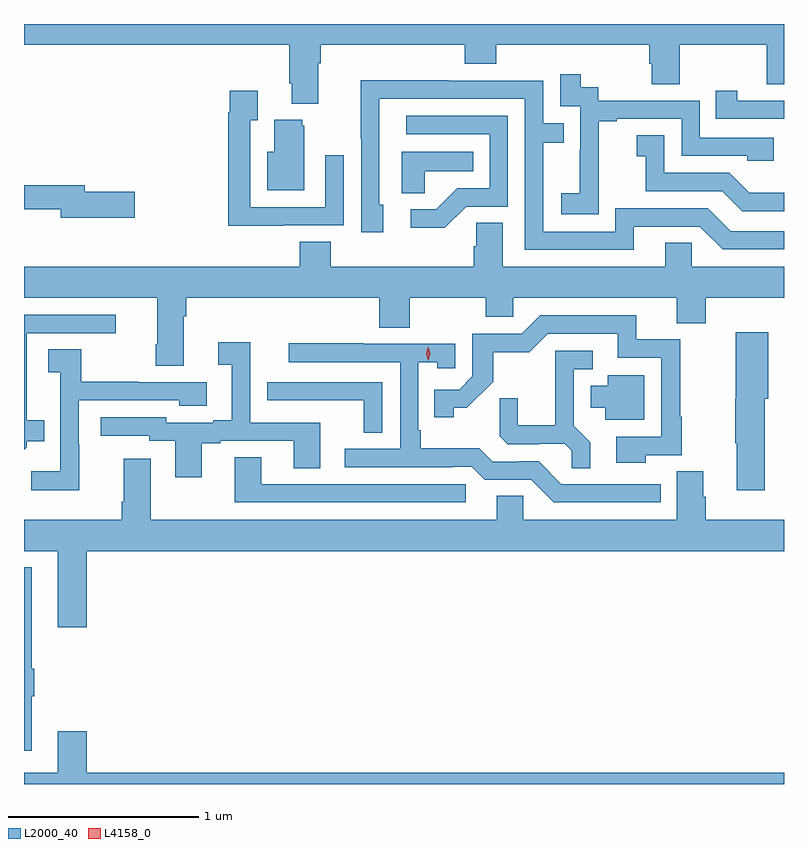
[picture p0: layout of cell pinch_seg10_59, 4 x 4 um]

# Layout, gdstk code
import gdstk
lib = gdstk.Library(unit=1e-6, precision=1e-09)
def P(c, l, *ps):  # polygons
    for p in ps: c.add(gdstk.Polygon(p, *l))
L2000_40 = (2000, 40)
L4158_0 = (4158, 0)

pinch_seg10_59 = lib.new_cell('pinch_seg10_59')
P(pinch_seg10_59, L2000_40, [(839.803,1300.22),(839.816,1300.22),(839.816,1300.316),(840.575,1300.316),(840.575,1300.217),(840.74,1300.217),(840.74,1300.316),(841.547,1300.316),(841.547,1300.218),(841.559,1300.218),(841.559,1300.108),(841.707,1300.108),(841.707,1300.316),(842.164,1300.316),(842.164,1300.108),(842.255,1300.108),(842.255,1300.426),(838.255,1300.426),(838.255,1300.316),(839.651,1300.316),(839.651,1300.114),(839.663,1300.114),(839.663,1300.007),(839.803,1300.007)],
  [(841.281,1299.631),(841.28,1299.631),(841.28,1299.915),(841.375,1299.915),(841.375,1299.927),(841.716,1299.927),(841.716,1299.732),(842.061,1299.732),(842.061,1299.705),(842.201,1299.705),(842.201,1299.828),(841.812,1299.828),(841.812,1300.023),(841.278,1300.023),(841.278,1300.092),(841.186,1300.092),(841.186,1300.162),(841.077,1300.162),(841.077,1299.993),(841.182,1299.993),(841.182,1299.764),(841.181,1299.764),(841.181,1299.535),(841.083,1299.535),(841.083,1299.425),(841.281,1299.425)],
  [(841.465,1299.36),(841.812,1299.36),(841.932,1299.24),(842.255,1299.24),(842.255,1299.336),(841.974,1299.336),(841.854,1299.456),(841.368,1299.456),(841.368,1299.333),(840.987,1299.333),(840.987,1299.802),(841.097,1299.802),(841.097,1299.903),(840.987,1299.903),(840.987,1300.128),(840.491,1300.128),(840.491,1300.13),(840.028,1300.13),(840.028,1299.823),(840.03,1299.823),(840.03,1299.33),(840.145,1299.33),(840.145,1299.474),(840.126,1299.474),(840.126,1300.032),(840.891,1300.032),(840.891,1299.237),(841.465,1299.237)],
  [(842.255,1300.023),(842.008,1300.023),(842.008,1300.075),(841.897,1300.075),(841.897,1299.927),(842.255,1299.927)],
  [(839.621,1299.366),(839.937,1299.366),(839.937,1299.736),(839.841,1299.736),(839.841,1299.462),(839.445,1299.462),(839.445,1299.919),(839.485,1299.919),(839.485,1300.075),(839.337,1300.075),(839.337,1299.962),(839.329,1299.962),(839.329,1299.365),(839.621,1299.365)],
  [(840.582,1299.465),(840.801,1299.465),(840.801,1299.942),(840.267,1299.942),(840.267,1299.846),(840.705,1299.846),(840.705,1299.561),(840.536,1299.561),(840.425,1299.45),(840.291,1299.45),(840.291,1299.353),(840.469,1299.353)],
  [(839.731,1299.891),(839.72,1299.891),(839.72,1299.922),(839.573,1299.922),(839.573,1299.754),(839.534,1299.754),(839.534,1299.551),(839.731,1299.551)],
  [(842.255,1299.538),(842.072,1299.538),(841.968,1299.642),(841.626,1299.642),(841.626,1299.841),(841.479,1299.841),(841.479,1299.731),(841.528,1299.731),(841.528,1299.546),(841.931,1299.546),(842.036,1299.441),(842.255,1299.441)],
  [(840.363,1299.65),(840.62,1299.65),(840.62,1299.754),(840.242,1299.754),(840.242,1299.535),(840.363,1299.535)],
  [(838.837,1299.542),(838.576,1299.542),(838.576,1299.578),(838.255,1299.578),(838.255,1299.45),(838.448,1299.45),(838.448,1299.407),(838.837,1299.407)],
  [(839.095,1298.888),(839.108,1298.888),(839.108,1298.984),(840.125,1298.984),(840.125,1298.827),(840.285,1298.827),(840.285,1298.984),(840.685,1298.984),(840.685,1298.886),(840.831,1298.886),(840.831,1298.984),(841.691,1298.984),(841.691,1298.851),(841.844,1298.851),(841.844,1298.984),(842.255,1298.984),(842.255,1299.148),(841.77,1299.148),(841.77,1299.275),(841.631,1299.275),(841.631,1299.148),(840.775,1299.148),(840.775,1299.38),(840.636,1299.38),(840.636,1299.257),(840.623,1299.257),(840.623,1299.148),(839.87,1299.148),(839.87,1299.281),(839.705,1299.281),(839.705,1299.148),(838.255,1299.148),(838.255,1298.984),(838.955,1298.984),(838.955,1298.74),(838.948,1298.74),(838.948,1298.628),(839.095,1298.628)],
  [(838.269,1298.199),(838.269,1298.231),(838.361,1298.231),(838.361,1298.341),(838.27,1298.341),(838.27,1298.799),(838.738,1298.799),(838.738,1298.895),(838.255,1298.895),(838.255,1298.185)],
  [(841.527,1298.157),(841.717,1298.157),(841.717,1298.36),(841.709,1298.36),(841.709,1298.766),(841.478,1298.766),(841.478,1298.892),(840.972,1298.892),(840.876,1298.796),(840.615,1298.796),(840.615,1298.571),(840.546,1298.502),(840.415,1298.502),(840.415,1298.355),(840.516,1298.355),(840.516,1298.405),(840.586,1298.405),(840.724,1298.542),(840.724,1298.698),(840.913,1298.698),(841.011,1298.796),(841.379,1298.796),(841.379,1298.67),(841.608,1298.67),(841.608,1298.253),(841.371,1298.253),(841.371,1298.117),(841.527,1298.117)],
  [(842.153,1298.454),(842.171,1298.454),(842.171,1298.803),(842,1298.803),(842,1298.454),(841.999,1298.454),(841.999,1298.219),(842.006,1298.219),(842.006,1297.971),(842.153,1297.971)],
  [(839.191,1298.22),(839.287,1298.22),(839.287,1298.232),(839.675,1298.232),(839.675,1298.089),(839.815,1298.089),(839.815,1298.328),(839.445,1298.328),(839.445,1298.752),(839.277,1298.752),(839.277,1298.632),(839.348,1298.632),(839.348,1298.341),(839.252,1298.341),(839.252,1298.328),(839.004,1298.328),(839.004,1298.355),(838.659,1298.355),(838.659,1298.259),(838.914,1298.259),(838.914,1298.232),(839.051,1298.232),(839.051,1298.04),(839.191,1298.04)],
  [(841.606,1298.004),(841.083,1298.004),(840.963,1298.124),(840.862,1298.124),(840.862,1298.121),(840.723,1298.121),(840.65,1298.194),(840.343,1298.194),(840.343,1298.287),(840.33,1298.287),(840.33,1298.645),(840.429,1298.645),(840.429,1298.613),(840.525,1298.613),(840.525,1298.742),(840.041,1298.742),(840.041,1298.745),(839.649,1298.745),(839.649,1298.646),(840.234,1298.646),(840.234,1298.19),(839.943,1298.19),(839.943,1298.094),(840.512,1298.094),(840.512,1298.097),(840.612,1298.097),(840.681,1298.028),(840.924,1298.028),(841.044,1297.908),(841.606,1297.908)],
  [(838.545,1298.213),(838.542,1298.213),(838.542,1298.445),(839.073,1298.445),(839.073,1298.417),(839.218,1298.417),(839.218,1298.541),(838.859,1298.541),(838.859,1298.544),(838.555,1298.544),(838.555,1298.714),(838.383,1298.714),(838.383,1298.593),(838.446,1298.593),(838.446,1298.071),(838.293,1298.071),(838.293,1297.973),(838.545,1297.973)],
  [(841.235,1298.225),(841.149,1298.311),(841.149,1298.61),(841.249,1298.61),(841.249,1298.706),(841.052,1298.706),(841.052,1298.314),(840.854,1298.314),(840.854,1298.457),(840.76,1298.457),(840.76,1298.255),(840.801,1298.214),(840.966,1298.214),(840.966,1298.217),(841.1,1298.217),(841.137,1298.18),(841.137,1298.089),(841.235,1298.089)],
  [(841.519,1298.578),(841.328,1298.578),(841.328,1298.521),(841.238,1298.521),(841.238,1298.405),(841.313,1298.405),(841.313,1298.342),(841.519,1298.342)],
  [(840.141,1298.541),(839.535,1298.541),(839.535,1298.446),(839.647,1298.446),(839.647,1298.445),(840.043,1298.445),(840.043,1298.275),(840.141,1298.275)],
  [(840.58,1298.004),(839.503,1298.004),(839.503,1298.147),(839.363,1298.147),(839.363,1297.908),(840.58,1297.908)],
  [(838.586,1297.652),(842.255,1297.652),(842.255,1297.816),(841.844,1297.816),(841.844,1297.938),(841.831,1297.938),(841.831,1298.072),(841.691,1298.072),(841.691,1297.816),(840.882,1297.816),(840.882,1297.943),(840.743,1297.943),(840.743,1297.816),(838.921,1297.816),(838.921,1298.137),(838.781,1298.137),(838.781,1297.912),(838.769,1297.912),(838.769,1297.816),(838.255,1297.816),(838.255,1297.652),(838.433,1297.652),(838.433,1297.251),(838.586,1297.251)],
  [(838.297,1296.888),(838.31,1296.888),(838.31,1297.032),(838.297,1297.032),(838.297,1297.567),(838.255,1297.567),(838.255,1296.6),(838.297,1296.6)],
  [(842.255,1296.484),(838.586,1296.484),(838.586,1296.703),(838.433,1296.703),(838.433,1296.484),(838.255,1296.484),(838.255,1296.426),(842.255,1296.426)])
P(pinch_seg10_59, L4158_0, [(840.383,1298.654),(840.383,1298.655),(840.373,1298.691),(840.383,1298.726),(840.383,1298.727),(840.383,1298.726),(840.393,1298.691),(840.383,1298.655)])

lib.write_gds('pinch_seg10_59.gds')
